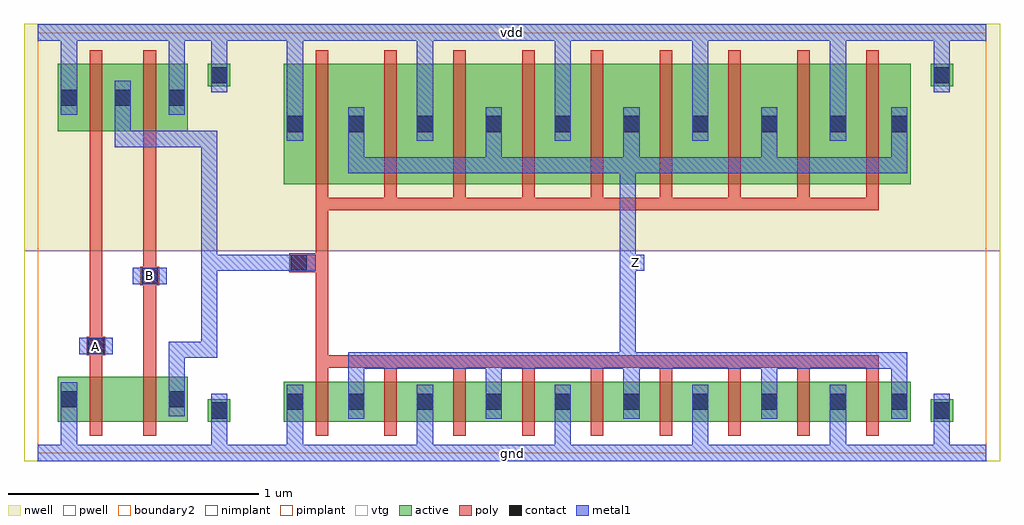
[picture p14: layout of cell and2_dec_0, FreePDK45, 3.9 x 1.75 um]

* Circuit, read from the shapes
.subckt and2_dec_0 A B Z gnd vdd
M1 pnand2_0/nmos_m1_w0_180_sm1_dactive_2/D A gnd gnd nfet w=0.18u l=0.05u
M2 pinv_0_1/A B pnand2_0/nmos_m1_w0_180_sm1_dactive_2/D gnd nfet w=0.18u l=0.05u
M3 Z pinv_0_1/A gnd gnd nfet w=0.16u l=0.05u m=9
M4 pinv_0_1/A A vdd vdd pfet w=0.27u l=0.05u
M5 vdd B pinv_0_1/A vdd pfet w=0.27u l=0.05u
M6 Z pinv_0_1/A vdd vdd pfet w=0.48u l=0.05u m=9
.ends

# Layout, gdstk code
import gdstk
lib = gdstk.Library(unit=1e-6, precision=5e-10)
def R(c, l, rs):  # rectangles x0, y0, x1, y1
    for r in rs: c.add(gdstk.rectangle(r[:2], r[2:], *l))
def A(c, l, x, y, w, h, nx, ny, dx, dy):  # array of equal rectangles
    R(c, l, [(x+i*dx, y+j*dy, x+i*dx+w, y+j*dy+h) for i in range(nx) for j in range(ny)])
active = (1, 0)
pwell = (2, 0)
nwell = (3, 0)
nimplant = (4, 0)
pimplant = (5, 0)
vtg = (6, 0)
poly = (9, 0)
contact = (10, 0)
metal1 = (11, 0)
boundary2 = (239, 0)

contact_10 = lib.new_cell('contact_10')
R(contact_10, active, [(0,0.0225,0.09,0.1125)])
R(contact_10, nwell, [(-0.055,-0.0325,0.145,0.1675)])
R(contact_10, pimplant, [(0,0.0225,0.09,0.1125)])
R(contact_10, contact, [(0.0125,0.035,0.0775,0.1)])
R(contact_10, metal1, [(0.0125,0,0.0775,0.135)])
R(contact_10, boundary2, [(-0.055,-0.0325,0.145,0.1675)])

pmos_m1_w0_270_sm1_dm1 = lib.new_cell('pmos_m1_w0_270_sm1_dm1')
R(pmos_m1_w0_270_sm1_dm1, active, [(0,0,0.305,0.27)])
R(pmos_m1_w0_270_sm1_dm1, nwell, [(-0.08,-0.08,0.385,0.35)])
R(pmos_m1_w0_270_sm1_dm1, pimplant, [(0,0,0.305,0.27)])
R(pmos_m1_w0_270_sm1_dm1, vtg, [(-0.08,-0.08,0.385,0.35)])
R(pmos_m1_w0_270_sm1_dm1, poly, [(0.1275,-0.055,0.1775,0.325), (0.1275,-0.055,0.1775,0.325)])
R(pmos_m1_w0_270_sm1_dm1, metal1, [(0.0125,0.0675,0.0775,0.2025), (0.2275,0.0675,0.2925,0.2025)])
R(pmos_m1_w0_270_sm1_dm1, boundary2, [(-0.08,-0.08,0.385,0.35)])
pmos_m1_w0_270_sm1_dm1.add(gdstk.Reference(contact_10, (0,0.0675)))
pmos_m1_w0_270_sm1_dm1.add(gdstk.Reference(contact_10, (0.215,0.0675)))
pmos_m1_w0_270_sm1_dm1.add(gdstk.Label('S', (0.045,0.135), layer=11, texttype=0))
pmos_m1_w0_270_sm1_dm1.add(gdstk.Label('D', (0.26,0.135), layer=11, texttype=0))
pmos_m1_w0_270_sm1_dm1.add(gdstk.Label('G', (0.1525,0.135), layer=9, texttype=0))

contact_9 = lib.new_cell('contact_9')
R(contact_9, active, [(0,0.0225,0.09,0.1125)])
R(contact_9, pwell, [(-0.055,-0.0325,0.145,0.1675)])
R(contact_9, nimplant, [(0,0.0225,0.09,0.1125)])
R(contact_9, contact, [(0.0125,0.035,0.0775,0.1)])
R(contact_9, metal1, [(0.0125,0,0.0775,0.135)])
R(contact_9, boundary2, [(-0.055,-0.0325,0.145,0.1675)])

nmos_m1_w0_180_sm1_dacti = lib.new_cell('nmos_m1_w0_180_sm1_dactive')
R(nmos_m1_w0_180_sm1_dacti, active, [(0,0,0.305,0.18), (0.215,0.045,0.305,0.135)])
R(nmos_m1_w0_180_sm1_dacti, pwell, [(-0.08,-0.08,0.385,0.26)])
R(nmos_m1_w0_180_sm1_dacti, nimplant, [(0,0,0.305,0.18)])
R(nmos_m1_w0_180_sm1_dacti, vtg, [(-0.08,-0.08,0.385,0.26)])
R(nmos_m1_w0_180_sm1_dacti, poly, [(0.1275,-0.055,0.1775,0.235), (0.1275,-0.055,0.1775,0.235)])
R(nmos_m1_w0_180_sm1_dacti, metal1, [(0.0125,0.0225,0.0775,0.1575)])
R(nmos_m1_w0_180_sm1_dacti, boundary2, [(-0.08,-0.08,0.385,0.26)])
nmos_m1_w0_180_sm1_dacti.add(gdstk.Reference(contact_9, (0,0.0225)))
nmos_m1_w0_180_sm1_dacti.add(gdstk.Label('S', (0.045,0.09), layer=11, texttype=0))
nmos_m1_w0_180_sm1_dacti.add(gdstk.Label('G', (0.1525,0.09), layer=9, texttype=0))
nmos_m1_w0_180_sm1_dacti.add(gdstk.Label('D', (0.26,0.09), layer=1, texttype=0))

nmos_m1_w0_180_sactive_d = lib.new_cell('nmos_m1_w0_180_sactive_dm1')
R(nmos_m1_w0_180_sactive_d, active, [(0,0,0.305,0.18), (0,0.045,0.09,0.135)])
R(nmos_m1_w0_180_sactive_d, pwell, [(-0.08,-0.08,0.385,0.26)])
R(nmos_m1_w0_180_sactive_d, nimplant, [(0,0,0.305,0.18)])
R(nmos_m1_w0_180_sactive_d, vtg, [(-0.08,-0.08,0.385,0.26)])
R(nmos_m1_w0_180_sactive_d, poly, [(0.1275,-0.055,0.1775,0.235), (0.1275,-0.055,0.1775,0.235)])
R(nmos_m1_w0_180_sactive_d, metal1, [(0.2275,0.0225,0.2925,0.1575)])
R(nmos_m1_w0_180_sactive_d, boundary2, [(-0.08,-0.08,0.385,0.26)])
nmos_m1_w0_180_sactive_d.add(gdstk.Reference(contact_9, (0.215,0.0225)))
nmos_m1_w0_180_sactive_d.add(gdstk.Label('D', (0.26,0.09), layer=11, texttype=0))
nmos_m1_w0_180_sactive_d.add(gdstk.Label('G', (0.1525,0.09), layer=9, texttype=0))
nmos_m1_w0_180_sactive_d.add(gdstk.Label('S', (0.045,0.09), layer=1, texttype=0))

contact_11 = lib.new_cell('contact_11')
R(contact_11, active, [(0,0.0225,0.09,0.1125)])
R(contact_11, nwell, [(-0.055,-0.0325,0.145,0.1675)])
R(contact_11, nimplant, [(0,0.0225,0.09,0.1125)])
R(contact_11, contact, [(0.0125,0.035,0.0775,0.1)])
R(contact_11, metal1, [(0.0125,0,0.0775,0.135)])
R(contact_11, boundary2, [(-0.055,-0.0325,0.145,0.1675)])

contact_12 = lib.new_cell('contact_12')
R(contact_12, active, [(0,0.0225,0.09,0.1125)])
R(contact_12, pwell, [(-0.055,-0.0325,0.145,0.1675)])
R(contact_12, pimplant, [(0,0.0225,0.09,0.1125)])
R(contact_12, contact, [(0.0125,0.035,0.0775,0.1)])
R(contact_12, metal1, [(0.0125,0,0.0775,0.135)])
R(contact_12, boundary2, [(-0.055,-0.0325,0.145,0.1675)])

contact_13 = lib.new_cell('contact_13')
R(contact_13, poly, [(0.03,0,0.105,0.075)])
R(contact_13, contact, [(0.035,0.005,0.1,0.07)])
R(contact_13, metal1, [(0,0.005,0.135,0.07)])
R(contact_13, boundary2, [(0,0,0.135,0.075)])

pnand2 = lib.new_cell('pnand2')
R(pnand2, pwell, [(-0.055,-0.0325,0.9575,0.8075)])
R(pnand2, nwell, [(-0.055,0.8075,0.9575,1.715)])
R(pnand2, vtg, [(-0.055,-0.0325,0.9575,0.8075), (-0.055,0.8075,0.9575,1.715)])
R(pnand2, poly, [(0.2075,0.36,0.2575,1.23), (0.4225,0.36,0.4725,1.23), (0.2075,0.39,0.2325,0.465), (0.4225,0.67,0.4475,0.745)])
R(pnand2, metal1, [(0,-0.0325,0.9025,0.0325), (0.0925,-0.0325,0.1575,0.1475), (0.6925,0,0.7575,0.17), (0.5225,0.2825,0.5875,0.4125), (0.5225,0.38,0.5875,0.445), (0.555,0.38,0.685,0.445), (0.6525,0.38,0.7175,0.445), (0.165,0.395,0.3,0.46), (0.6525,0.4125,0.7175,1.255), (0.38,0.675,0.515,0.74), (0.3075,1.2225,0.3725,1.2875), (0.34,1.2225,0.685,1.2875), (0.6525,1.2225,0.7175,1.2875), (0.3075,1.255,0.3725,1.3525), (0.0925,1.3525,0.1575,1.7125), (0.5225,1.3525,0.5875,1.7125), (0.6925,1.51,0.7575,1.68), (0,1.6475,0.9025,1.7125)])
R(pnand2, boundary2, [(0,0,0.9025,1.68), (0,0,0.9025,1.68)])
pnand2.add(gdstk.Reference(pmos_m1_w0_270_sm1_dm1, (0.08,1.285)))
pnand2.add(gdstk.Reference(pmos_m1_w0_270_sm1_dm1, (0.295,1.285)))
pnand2.add(gdstk.Reference(nmos_m1_w0_180_sm1_dacti, (0.08,0.125)))
pnand2.add(gdstk.Reference(nmos_m1_w0_180_sactive_d, (0.295,0.125)))
pnand2.add(gdstk.Reference(contact_11, (0.68,1.4425)))
pnand2.add(gdstk.Reference(contact_12, (0.68,0.1025)))
pnand2.add(gdstk.Reference(contact_13, (0.165,0.39)))
pnand2.add(gdstk.Reference(contact_13, (0.38,0.67)))
pnand2.add(gdstk.Label('Z', (0.685,1.255), layer=11, texttype=0))
pnand2.add(gdstk.Label('gnd', (0.451,0), layer=11, texttype=0))
pnand2.add(gdstk.Label('vdd', (0.451,1.68), layer=11, texttype=0))
pnand2.add(gdstk.Label('A', (0.2325,0.4275), layer=11, texttype=0))
pnand2.add(gdstk.Label('B', (0.4475,0.7075), layer=11, texttype=0))

pmos_m9_w0_480_sm1_dm1_d = lib.new_cell('pmos_m9_w0_480_sm1_dm1_da_p')
R(pmos_m9_w0_480_sm1_dm1_d, active, [(0,0,2.505,0.48)])
R(pmos_m9_w0_480_sm1_dm1_d, nwell, [(-0.08,-0.08,2.585,0.56)])
R(pmos_m9_w0_480_sm1_dm1_d, pimplant, [(0,0,2.505,0.48)])
R(pmos_m9_w0_480_sm1_dm1_d, vtg, [(-0.08,-0.08,2.585,0.56)])
A(pmos_m9_w0_480_sm1_dm1_d, poly, 0.1275, -0.055, 0.05, 0.59, 9, 1, 0.275, 0)
R(pmos_m9_w0_480_sm1_dm1_d, poly, [(0.1275,-0.105,2.3775,-0.055)])
A(pmos_m9_w0_480_sm1_dm1_d, metal1, 0.2575, 0.075, 0.065, 0.165, 4, 1, 0.55, 0)
A(pmos_m9_w0_480_sm1_dm1_d, metal1, 0.5325, 0.1725, 0.065, 0.135, 4, 1, 0.55, 0)
R(pmos_m9_w0_480_sm1_dm1_d, metal1, [(0.2575,0.0425,2.4925,0.1075), (2.4275,0.075,2.4925,0.24), (0.0125,0.1725,0.0775,0.3075)])
R(pmos_m9_w0_480_sm1_dm1_d, boundary2, [(-0.08,-0.105,2.585,0.56)])
pmos_m9_w0_480_sm1_dm1_d.add(gdstk.Reference(contact_10, (0,0.1725)))
pmos_m9_w0_480_sm1_dm1_d.add(gdstk.Reference(contact_10, (0.245,0.1725)))
pmos_m9_w0_480_sm1_dm1_d.add(gdstk.Reference(contact_10, (0.52,0.1725)))
pmos_m9_w0_480_sm1_dm1_d.add(gdstk.Reference(contact_10, (0.795,0.1725)))
pmos_m9_w0_480_sm1_dm1_d.add(gdstk.Reference(contact_10, (1.07,0.1725)))
pmos_m9_w0_480_sm1_dm1_d.add(gdstk.Reference(contact_10, (1.345,0.1725)))
pmos_m9_w0_480_sm1_dm1_d.add(gdstk.Reference(contact_10, (1.62,0.1725)))
pmos_m9_w0_480_sm1_dm1_d.add(gdstk.Reference(contact_10, (1.895,0.1725)))
pmos_m9_w0_480_sm1_dm1_d.add(gdstk.Reference(contact_10, (2.17,0.1725)))
pmos_m9_w0_480_sm1_dm1_d.add(gdstk.Reference(contact_10, (2.415,0.1725)))
pmos_m9_w0_480_sm1_dm1_d.add(gdstk.Label('S', (0.565,0.24), layer=11, texttype=0))
pmos_m9_w0_480_sm1_dm1_d.add(gdstk.Label('S', (0.045,0.24), layer=11, texttype=0))
pmos_m9_w0_480_sm1_dm1_d.add(gdstk.Label('S', (1.115,0.24), layer=11, texttype=0))
pmos_m9_w0_480_sm1_dm1_d.add(gdstk.Label('S', (1.665,0.24), layer=11, texttype=0))
pmos_m9_w0_480_sm1_dm1_d.add(gdstk.Label('S', (2.215,0.24), layer=11, texttype=0))
pmos_m9_w0_480_sm1_dm1_d.add(gdstk.Label('D', (1.375,0.075), layer=11, texttype=0))
pmos_m9_w0_480_sm1_dm1_d.add(gdstk.Label('G', (1.2525,-0.08), layer=9, texttype=0))

nmos_m9_w0_160_sm1_dm1_d = lib.new_cell('nmos_m9_w0_160_sm1_dm1_da_p')
R(nmos_m9_w0_160_sm1_dm1_d, active, [(0,0,2.505,0.16)])
R(nmos_m9_w0_160_sm1_dm1_d, pwell, [(-0.08,-0.08,2.585,0.24)])
R(nmos_m9_w0_160_sm1_dm1_d, nimplant, [(0,0,2.505,0.16)])
R(nmos_m9_w0_160_sm1_dm1_d, vtg, [(-0.08,-0.08,2.585,0.24)])
A(nmos_m9_w0_160_sm1_dm1_d, poly, 0.1275, -0.055, 0.05, 0.27, 9, 1, 0.275, 0)
R(nmos_m9_w0_160_sm1_dm1_d, poly, [(0.1275,0.215,2.3775,0.265)])
A(nmos_m9_w0_160_sm1_dm1_d, metal1, 0.5325, 0.0125, 0.065, 0.135, 4, 1, 0.55, 0)
A(nmos_m9_w0_160_sm1_dm1_d, metal1, 0.2575, 0.08, 0.065, 0.165, 4, 1, 0.55, 0)
R(nmos_m9_w0_160_sm1_dm1_d, metal1, [(0.0125,0.0125,0.0775,0.1475), (2.4275,0.08,2.4925,0.245), (0.2575,0.2125,2.4925,0.2775)])
R(nmos_m9_w0_160_sm1_dm1_d, boundary2, [(-0.08,-0.08,2.585,0.2775)])
nmos_m9_w0_160_sm1_dm1_d.add(gdstk.Reference(contact_9, (0,0.0125)))
nmos_m9_w0_160_sm1_dm1_d.add(gdstk.Reference(contact_9, (0.245,0.0125)))
nmos_m9_w0_160_sm1_dm1_d.add(gdstk.Reference(contact_9, (0.52,0.0125)))
nmos_m9_w0_160_sm1_dm1_d.add(gdstk.Reference(contact_9, (0.795,0.0125)))
nmos_m9_w0_160_sm1_dm1_d.add(gdstk.Reference(contact_9, (1.07,0.0125)))
nmos_m9_w0_160_sm1_dm1_d.add(gdstk.Reference(contact_9, (1.345,0.0125)))
nmos_m9_w0_160_sm1_dm1_d.add(gdstk.Reference(contact_9, (1.62,0.0125)))
nmos_m9_w0_160_sm1_dm1_d.add(gdstk.Reference(contact_9, (1.895,0.0125)))
nmos_m9_w0_160_sm1_dm1_d.add(gdstk.Reference(contact_9, (2.17,0.0125)))
nmos_m9_w0_160_sm1_dm1_d.add(gdstk.Reference(contact_9, (2.415,0.0125)))
nmos_m9_w0_160_sm1_dm1_d.add(gdstk.Label('S', (0.045,0.08), layer=11, texttype=0))
nmos_m9_w0_160_sm1_dm1_d.add(gdstk.Label('S', (2.215,0.08), layer=11, texttype=0))
nmos_m9_w0_160_sm1_dm1_d.add(gdstk.Label('S', (1.665,0.08), layer=11, texttype=0))
nmos_m9_w0_160_sm1_dm1_d.add(gdstk.Label('S', (1.115,0.08), layer=11, texttype=0))
nmos_m9_w0_160_sm1_dm1_d.add(gdstk.Label('S', (0.565,0.08), layer=11, texttype=0))
nmos_m9_w0_160_sm1_dm1_d.add(gdstk.Label('D', (1.375,0.245), layer=11, texttype=0))
nmos_m9_w0_160_sm1_dm1_d.add(gdstk.Label('G', (1.2525,0.24), layer=9, texttype=0))

pinv_0 = lib.new_cell('pinv_0')
R(pinv_0, pwell, [(-0.055,-0.0325,2.9425,0.8075)])
R(pinv_0, nwell, [(-0.055,0.8075,2.9425,1.715)])
R(pinv_0, vtg, [(-0.055,-0.0325,2.9425,0.8075), (-0.055,0.8075,2.9425,1.715)])
R(pinv_0, poly, [(0.2075,0.39,0.2575,0.97), (0.14,0.7225,0.2075,0.7975)])
A(pinv_0, metal1, 0.6125, -0.0325, 0.065, 0.17, 4, 1, 0.55, 0)
A(pinv_0, metal1, 0.6125, 1.2475, 0.065, 0.465, 4, 1, 0.55, 0)
R(pinv_0, metal1, [(0,-0.0325,2.8875,0.0325), (0.0925,-0.0325,0.1575,0.1375), (2.6775,0,2.7425,0.17), (1.4225,0.3375,1.4875,1.1825), (0.0725,0.7275,0.2075,0.7925), (1.455,0.7275,1.52,0.7925), (0.0925,1.2475,0.1575,1.7125), (2.6775,1.51,2.7425,1.68), (0,1.6475,2.8875,1.7125)])
R(pinv_0, boundary2, [(0,0,2.8875,1.68), (0,0,2.8875,1.68)])
pinv_0.add(gdstk.Reference(pmos_m9_w0_480_sm1_dm1_d, (0.08,1.075)))
pinv_0.add(gdstk.Reference(nmos_m9_w0_160_sm1_dm1_d, (0.08,0.125)))
pinv_0.add(gdstk.Reference(contact_11, (2.665,1.4425)))
pinv_0.add(gdstk.Reference(contact_12, (2.665,0.1025)))
pinv_0.add(gdstk.Reference(contact_13, (0.0725,0.7225)))
pinv_0.add(gdstk.Label('A', (0.14,0.76), layer=11, texttype=0))
pinv_0.add(gdstk.Label('Z', (1.4875,0.76), layer=11, texttype=0))
pinv_0.add(gdstk.Label('gnd', (1.444,0), layer=11, texttype=0))
pinv_0.add(gdstk.Label('vdd', (1.444,1.68), layer=11, texttype=0))

and2_dec_0 = lib.new_cell('and2_dec_0')
R(and2_dec_0, metal1, [(0,-0.0325,3.79,0.0325), (0.165,0.395,0.3,0.46), (0.38,0.675,0.515,0.74), (0.6525,0.7275,0.7175,0.7925), (0.685,0.7275,1.0425,0.7925), (2.3575,0.7275,2.4225,0.7925), (0.6525,0.76,0.7175,1.255), (0,1.6475,3.79,1.7125)])
R(and2_dec_0, boundary2, [(0,0,3.79,1.68)])
and2_dec_0.add(gdstk.Reference(pnand2, (0,0)))
and2_dec_0.add(gdstk.Reference(pinv_0, (0.9025,0)))
and2_dec_0.add(gdstk.Label('Z', (2.39,0.76), layer=11, texttype=0))
and2_dec_0.add(gdstk.Label('A', (0.2325,0.4275), layer=11, texttype=0))
and2_dec_0.add(gdstk.Label('B', (0.4475,0.7075), layer=11, texttype=0))
and2_dec_0.add(gdstk.Label('gnd', (1.895,0), layer=11, texttype=0))
and2_dec_0.add(gdstk.Label('vdd', (1.895,1.68), layer=11, texttype=0))

lib.write_gds('and2_dec_0.gds')
